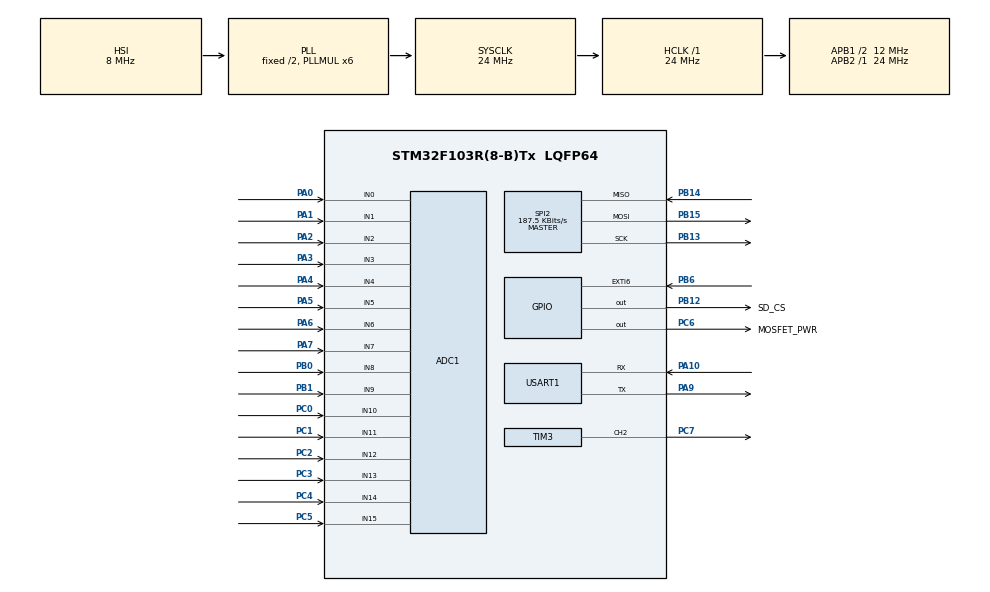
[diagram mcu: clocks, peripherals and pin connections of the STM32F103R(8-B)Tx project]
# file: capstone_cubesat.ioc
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ADC1.Channel-0\#ChannelRegularConversion=ADC_CHANNEL_0
ADC1.ContinuousConvMode=DISABLE
ADC1.EnableAnalogWatchDog=false
ADC1.NbrOfConversion=1
ADC1.NbrOfConversionFlag=1
ADC1.Rank-0\#ChannelRegularConversion=1
ADC1.SamplingTime-0\#ChannelRegularConversion=ADC_SAMPLETIME_7CYCLES_5
ADC1.master=1
Mcu.Family=STM32F1
Mcu.Name=STM32F103R(8-B)Tx
Mcu.Package=LQFP64
NVIC.EXTI9_5_IRQn=true\:0\:0\:false\:false\:true\:true\:true\:true
NVIC.PriorityGroup=NVIC_PRIORITYGROUP_4
NVIC.TIM4_IRQn=true\:15\:0\:false\:false\:true\:false\:true\:true
NVIC.TimeBase=TIM4_IRQn
NVIC.TimeBaseIP=TIM4
PA0-WKUP.Signal=ADCx_IN0
PA1.Signal=ADCx_IN1
PA10.Mode=Asynchronous
PA10.Signal=USART1_RX
PA13.GPIO_Label=TMS
PA13.Mode=Serial_Wire
PA13.Signal=SYS_JTMS-SWDIO
PA14.GPIO_Label=TCK
PA14.Mode=Serial_Wire
PA14.Signal=SYS_JTCK-SWCLK
PA2.Signal=ADCx_IN2
PA3.Signal=ADCx_IN3
PA4.Signal=ADCx_IN4
PA5.Signal=ADCx_IN5
PA6.Signal=ADCx_IN6
PA7.Signal=ADCx_IN7
PA9.Mode=Asynchronous
PA9.Signal=USART1_TX
PB0.Signal=ADCx_IN8
PB1.Signal=ADCx_IN9
PB12.GPIO_Label=SD_CS
PB12.Signal=GPIO_Output
PB13.Mode=Full_Duplex_Master
PB13.Signal=SPI2_SCK
PB14.Mode=Full_Duplex_Master
PB14.Signal=SPI2_MISO
PB15.Mode=Full_Duplex_Master
PB15.Signal=SPI2_MOSI
PB3.GPIO_Label=SWO
PB3.Signal=SYS_JTDO-TRACESWO
PB6.Signal=GPXTI6
PC0.Signal=ADCx_IN10
PC1.Signal=ADCx_IN11
PC14-OSC32_IN.Mode=LSE-External-Oscillator
PC14-OSC32_IN.Signal=RCC_OSC32_IN
PC15-OSC32_OUT.Mode=LSE-External-Oscillator
PC15-OSC32_OUT.Signal=RCC_OSC32_OUT
PC2.Signal=ADCx_IN12
PC3.Signal=ADCx_IN13
PC4.Signal=ADCx_IN14
PC5.Signal=ADCx_IN15
PC6.GPIO_Label=MOSFET_PWR
PC6.Signal=GPIO_Output
PC7.Signal=S_TIM3_CH2
PD0-OSC_IN.Mode=HSE-External-Clock-Source
PD0-OSC_IN.Signal=RCC_OSC_IN
PD1-OSC_OUT.Mode=HSE-External-Clock-Source
PD1-OSC_OUT.Signal=RCC_OSC_OUT
ProjectManager.HeapSize=0x200
ProjectManager.StackSize=0x400
ProjectManager.TargetToolchain=STM32CubeIDE
RCC.AHBFreq_Value=24000000
RCC.APB1CLKDivider=RCC_HCLK_DIV2
RCC.APB1Freq_Value=12000000
RCC.APB1TimFreq_Value=24000000
RCC.APB2Freq_Value=24000000
RCC.APB2TimFreq_Value=24000000
RCC.HCLKFreq_Value=24000000
RCC.PLLMUL=RCC_PLL_MUL6
RCC.RTCClockSelection=RCC_RTCCLKSOURCE_LSE
RCC.SYSCLKFreq_VALUE=24000000
RCC.SYSCLKSource=RCC_SYSCLKSOURCE_PLLCLK
RCC.USBFreq_Value=24000000
SH.ADCx_IN0.0=ADC1_IN0,IN0
SH.ADCx_IN1.0=ADC1_IN1,IN1
SH.ADCx_IN10.0=ADC1_IN10,IN10
SH.ADCx_IN11.0=ADC1_IN11,IN11
SH.ADCx_IN12.0=ADC1_IN12,IN12
SH.ADCx_IN13.0=ADC1_IN13,IN13
SH.ADCx_IN14.0=ADC1_IN14,IN14
SH.ADCx_IN15.0=ADC1_IN15,IN15
SH.ADCx_IN2.0=ADC1_IN2,IN2
SH.ADCx_IN3.0=ADC1_IN3,IN3
SH.ADCx_IN4.0=ADC1_IN4,IN4
SH.ADCx_IN5.0=ADC1_IN5,IN5
SH.ADCx_IN6.0=ADC1_IN6,IN6
SH.ADCx_IN7.0=ADC1_IN7,IN7
SH.ADCx_IN8.0=ADC1_IN8,IN8
SH.ADCx_IN9.0=ADC1_IN9,IN9
SH.S_TIM3_CH2.0=TIM3_CH2,PWM Generation2 CH2
SPI2.BaudRatePrescaler=SPI_BAUDRATEPRESCALER_64
SPI2.CalculateBaudRate=187.5 KBits/s
SPI2.Direction=SPI_DIRECTION_2LINES
SPI2.Mode=SPI_MODE_MASTER
SPI2.VirtualType=VM_MASTER
TIM1.Prescaler=24-1
TIM3.Channel-PWM\ Generation2\ CH2=TIM_CHANNEL_2
USART1.VirtualMode=VM_ASYNC
VP_FATFS_VS_Generic.Mode=User_defined
VP_SYS_VS_tim4.Mode=TIM4
VP_TIM1_VS_ClockSourceINT.Mode=Internal
VP_TIM3_VS_ClockSourceINT.Mode=Internal
board=NUCLEO-F103RB

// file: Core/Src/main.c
/* USER CODE BEGIN Header */
/**
  ******************************************************************************
  * @file           : main.c
  * @brief          : Main program body
  ******************************************************************************
  * @attention
  *
  * Copyright (c) 2024 STMicroelectronics.
  * All rights reserved.
  *
  * This software is licensed under terms that can be found in the LICENSE file
  * in the root directory of this software component.
  * If no LICENSE file comes with this software, it is provided AS-IS.
  *
  ******************************************************************************
  */
/* USER CODE END Header */
#include "main.h"
#include "fatfs.h"

/* USER CODE BEGIN Includes */
#include <stdio.h>
#include "sdcard.h"
#include <string.h>
/* USER CODE END Includes */

ADC_HandleTypeDef hadc1;

SPI_HandleTypeDef hspi2;

TIM_HandleTypeDef htim1;
TIM_HandleTypeDef htim3;

UART_HandleTypeDef huart1;

void SystemClock_Config(void);
static void MX_GPIO_Init(void);
static void MX_USART1_UART_Init(void);
static void MX_ADC1_Init(void);
static void MX_SPI2_Init(void);
static void MX_TIM3_Init(void);
static void MX_TIM1_Init(void);
/* USER CODE BEGIN PFP */
#ifdef __GNUC__
#define PUTCHAR_PROTOTYPE int __io_putchar(int ch)
#else
#define PUTCHAR_PROTOTYPE int fputc(int ch, FILE *f)
#endif

PUTCHAR_PROTOTYPE
{
  HAL_UART_Transmit(&huart1, (uint8_t *)&ch, 1, HAL_MAX_DELAY);
  return ch;
}
/* USER CODE END PFP */

/* USER CODE BEGIN 0 */

void HAL_GPIO_EXTI_Callback(uint16_t GPIO_Pin)
{
  HAL_ResumeTick();
}

// https://controllerstech.com/create-1-microsecond-delay-stm32/
void delay_us (uint16_t us)
{
	__HAL_TIM_SET_COUNTER(&htim1,0);  // set the counter value a 0
	while (__HAL_TIM_GET_COUNTER(&htim1) < us);  // wait for the counter to reach the us input in the parameter
}

uint16_t max(uint16_t arr[], int len)
{
	uint16_t i;

    // Initialize maximum element
    uint16_t max = arr[0];

    // Traverse array elements
    // from second and compare
    // every element with current max
    for (i = 1; i < len; i++)
        if (arr[i] > max)
            max = arr[i];

    return max;
}

void select_adc_channel(int channel)
{
    ADC_ChannelConfTypeDef sConfig = {0};
    //sConfig.SamplingTime = ADC_SAMPLETIME_15CYCLES;
    sConfig.SamplingTime = ADC_SAMPLETIME_7CYCLES_5;
    switch (channel)
    {
        case 0:
            sConfig.Channel = ADC_CHANNEL_0;
              sConfig.Rank = 1;

              if (HAL_ADC_ConfigChannel(&hadc1, &sConfig) != HAL_OK)
              {
                Error_Handler();
              }
              break;

        case 1:
              /** Configure for the selected ADC regular channel its corresponding rank in the sequencer and its sample time.
              */
              sConfig.Channel = ADC_CHANNEL_1;
              sConfig.Rank = 1;
              if (HAL_ADC_ConfigChannel(&hadc1, &sConfig) != HAL_OK)
              {
                Error_Handler();
              }
              break;
              /** Configure for the selected ADC regular channel its corresponding rank in the sequencer and its sample time.
              */
        case 2:
              sConfig.Channel = ADC_CHANNEL_2;
              sConfig.Rank = 1;
              if (HAL_ADC_ConfigChannel(&hadc1, &sConfig) != HAL_OK)
              {
                Error_Handler();
              }
              break;
              /** Configure for the selected ADC regular channel its corresponding rank in the sequencer and its sample time.
              */
        case 3:
              sConfig.Channel = ADC_CHANNEL_3;
              sConfig.Rank = 1;
              if (HAL_ADC_ConfigChannel(&hadc1, &sConfig) != HAL_OK)
              {
                Error_Handler();
              }
              break;
              /** Configure for the selected ADC regular channel its corresponding rank in the sequencer and its sample time.
              */
        case 4:
              sConfig.Channel = ADC_CHANNEL_4;
              sConfig.Rank = 1;
              if (HAL_ADC_ConfigChannel(&hadc1, &sConfig) != HAL_OK)
              {
                Error_Handler();
              }
              break;
              /** Configure for the selected ADC regular channel its corresponding rank in the sequencer and its sample time.
              */
        case 5:
              sConfig.Channel = ADC_CHANNEL_5;
              sConfig.Rank = 1;
              if (HAL_ADC_ConfigChannel(&hadc1, &sConfig) != HAL_OK)
              {
                Error_Handler();
              }
              break;
              /** Configure for the selected ADC regular channel its corresponding rank in the sequencer and its sample time.
              */
        case 6:
              sConfig.Channel = ADC_CHANNEL_6;
              sConfig.Rank = 1;
              if (HAL_ADC_ConfigChannel(&hadc1, &sConfig) != HAL_OK)
              {
                Error_Handler();
              }
              break;
              /** Configure for the selected ADC regular channel its corresponding rank in the sequencer and its sample time.
              */
        case 7:
              sConfig.Channel = ADC_CHANNEL_7;
              sConfig.Rank = 1;
              if (HAL_ADC_ConfigChannel(&hadc1, &sConfig) != HAL_OK)
              {
                Error_Handler();
              }
              break;
              /** Configure for the selected ADC regular channel its corresponding rank in the sequencer and its sample time.
              */
        case 8:
              sConfig.Channel = ADC_CHANNEL_8;
              sConfig.Rank = 9;
              if (HAL_ADC_ConfigChannel(&hadc1, &sConfig) != HAL_OK)
              {
                Error_Handler();
              }
              break;
              /** Configure for the selected ADC regular channel its corresponding rank in the sequencer and its sample time.
              */
        case 9:
              sConfig.Channel = ADC_CHANNEL_9;
              sConfig.Rank = 1;
              if (HAL_ADC_ConfigChannel(&hadc1, &sConfig) != HAL_OK)
              {
                Error_Handler();
              }
              break;
              /** Configure for the selected ADC regular channel its corresponding rank in the sequencer and its sample time.
              */
        case 10:
              sConfig.Channel = ADC_CHANNEL_10;
              sConfig.Rank = 1;
              if (HAL_ADC_ConfigChannel(&hadc1, &sConfig) != HAL_OK)
              {
                Error_Handler();
              }
              break;
              /** Configure for the selected ADC regular channel its corresponding rank in the sequencer and its sample time.
              */
        case 11:
              sConfig.Channel = ADC_CHANNEL_11;
              sConfig.Rank = 1;
              if (HAL_ADC_ConfigChannel(&hadc1, &sConfig) != HAL_OK)
              {
                Error_Handler();
              }
              break;
              /** Configure for the selected ADC regular channel its corresponding rank in the sequencer and its sample time.
              */
        case 12:
              sConfig.Channel = ADC_CHANNEL_12;
              sConfig.Rank = 1;
              if (HAL_ADC_ConfigChannel(&hadc1, &sConfig) != HAL_OK)
              {
                Error_Handler();
              }
              break;
              /** Configure for the selected ADC regular channel its corresponding rank in the sequencer and its sample time.
              */
        case 13:
              sConfig.Channel = ADC_CHANNEL_13;
              sConfig.Rank = 1;
              if (HAL_ADC_ConfigChannel(&hadc1, &sConfig) != HAL_OK)
              {
                Error_Handler();
              }
              break;
              /** Configure for the selected ADC regular channel its corresponding rank in the sequencer and its sample time.
              */
        case 14:
              sConfig.Channel = ADC_CHANNEL_14;
              sConfig.Rank = 1;
              if (HAL_ADC_ConfigChannel(&hadc1, &sConfig) != HAL_OK)
              {
                Error_Handler();
              }
              break;
        case 15:
              sConfig.Channel = ADC_CHANNEL_15;
              sConfig.Rank = 1;
              if (HAL_ADC_ConfigChannel(&hadc1, &sConfig) != HAL_OK)
              {
                Error_Handler();
              }
              break;
        default:
            break;
    }
}

void turn_on_5v_plane(void) {
	// turn on +5v plane
    HAL_GPIO_WritePin(GPIOC, GPIO_PIN_6, GPIO_PIN_SET);
}

void turn_off_5v_plane(void) {

	// turn off +5v plane
    HAL_GPIO_WritePin(GPIOC, GPIO_PIN_6, GPIO_PIN_RESET);
}

void preform_opamp_measurement_log_to_sd(void) {
	char adc_buf[15];

	// dont need to convert to voltages here, since we divide at the end for gain

	const uint16_t NUM_OF_SAMPLES = 80;

	uint16_t source_sine_samples[NUM_OF_SAMPLES];
	uint16_t peak_source_sine;

	uint16_t test_sine_samples[NUM_OF_SAMPLES];
	uint16_t peak_test_sine;

	uint16_t noshd_gain; // percentage
	uint16_t mel_gain;
	uint16_t al_gain;

	for (uint16_t i = 0; i <= 3; i++) {

		 for (uint8_t j = 0; j < NUM_OF_SAMPLES; j++) {

			  select_adc_channel(i);
			  // Get each ADC value from the group (2 channels in this case)
			  HAL_ADC_Start(&hadc1);
			  // Wait for regular group conversion to be completed
			  HAL_ADC_PollForConversion(&hadc1, HAL_MAX_DELAY);
			  if (i == 0) {
				  source_sine_samples[j] = HAL_ADC_GetValue(&hadc1);
			  } else {
				  test_sine_samples[j] = HAL_ADC_GetValue(&hadc1);
			  }

			  delay_us(80); // ~160 Hz sine wave, try to sample it evenly with 80 samples as 1/(160 Hz * 80) ~ 80us

		 }

		 switch (i) {
		 	 case 0:
		 		 peak_source_sine = max(source_sine_samples, NUM_OF_SAMPLES);
		 		 printf("SINE source peak quantized: %u\r\n", peak_source_sine);
		 		 break;
		 	 case 1: // noshd
		 		 peak_test_sine = max(test_sine_samples, NUM_OF_SAMPLES);

		 		noshd_gain = (uint16_t) (( ((float) peak_test_sine) / ((float) peak_source_sine) ) * 100);
		 		 printf("SINE noshd gain %%: %u\r\n", noshd_gain);

		 		break;
		 	 case 2:
		 		 peak_test_sine = max(test_sine_samples, NUM_OF_SAMPLES);

			 		mel_gain = (uint16_t) (( ((float) peak_test_sine) / ((float) peak_source_sine) ) * 100);
			 		 printf("SINE mel gain %%: %u\r\n", mel_gain);
		 		break;

		 	 case 3:
		 		 peak_test_sine = max(test_sine_samples, NUM_OF_SAMPLES);

			 		al_gain = (uint16_t) (( ((float) peak_test_sine) / ((float) peak_source_sine) ) * 100);
			 		 printf("SINE al gain %%: %u\r\n", al_gain);
		 		break;

		 }

	}
  snprintf(adc_buf, 15, "%u,%u,%u,", noshd_gain, mel_gain, al_gain);
  write_sdcard_file(adc_buf);
}

void preform_vref_measurement_log_to_sd(void) {
	char adc_buf[40];
	uint16_t quantized_vref_val;

	for (uint16_t i = 4; i <= 6; i++) {

		  select_adc_channel(i);
		  // Get each ADC value from the group (2 channels in this case)
		  HAL_ADC_Start(&hadc1);
		  // Wait for regular group conversion to be completed
		  HAL_ADC_PollForConversion(&hadc1, HAL_MAX_DELAY);
		  quantized_vref_val = HAL_ADC_GetValue(&hadc1);

		  if (i == 4) { printf("VREF NOSHD quantized val: %u\r\n", quantized_vref_val);}
		  if (i == 5) { printf("VREF MEL quantized val: %u\r\n", quantized_vref_val);}
		  if (i == 6) { printf("VREF AL quantized val: %u\r\n", quantized_vref_val);}

		  snprintf(adc_buf, 40, "%u,", quantized_vref_val);
		  write_sdcard_file(adc_buf);

	}

}

void read_lm35(void) {
		char adc_buf[40];

		uint16_t quantized_lm35_v;

	  select_adc_channel(9);
	  // Get each ADC value from the group (2 channels in this case)
	  HAL_ADC_Start(&hadc1);
	  // Wait for regular group conversion to be completed
	  HAL_ADC_PollForConversion(&hadc1, HAL_MAX_DELAY);
	  quantized_lm35_v = HAL_ADC_GetValue(&hadc1);

	  printf("LM35 quantized volt: %u\r\n", quantized_lm35_v);
	  snprintf(adc_buf, 40, "%u,", quantized_lm35_v);
	  write_sdcard_file(adc_buf);
}

void preform_opto_measurement_log_to_sd(void) {
	char adc_buf[15];

	// dont need to convert to voltages here, since we divide at the end for gain

	const uint16_t NUM_OF_SAMPLES = 80;

	uint16_t forward_opto_current[NUM_OF_SAMPLES];
	uint16_t peak_forward_opto_current;

	uint16_t emitter_opto_current[NUM_OF_SAMPLES];
	uint16_t peak_emitter_opto_current;

	uint16_t noshd_ctr; // percentage
	uint16_t mel_ctr;
	uint16_t al_ctr;

	for (uint16_t i = 10; i <= 15; i++) {

		 for (uint8_t j = 0; j < NUM_OF_SAMPLES; j++) {

			  select_adc_channel(i);
			  // Get each ADC value from the group (2 channels in this case)
			  HAL_ADC_Start(&hadc1);
			  // Wait for regular group conversion to be completed
			  HAL_ADC_PollForConversion(&hadc1, HAL_MAX_DELAY);

			  // if adc channel number even
			  // if moving channels around have to change that here
			  if (i % 2 == 0) {
				  // its forward
				  forward_opto_current[j] = HAL_ADC_GetValue(&hadc1);
			  } else {
				  // else its emitter
				  emitter_opto_current[j] = HAL_ADC_GetValue(&hadc1);
			  }

			  delay_us(80); // ~160 Hz sine wave, try to sample it evenly with 80 samples as 1/(160 Hz * 80) ~ 80us

		 }

		 switch (i) {
		 	 case 10:
		 		peak_forward_opto_current = max(forward_opto_current, NUM_OF_SAMPLES);
		 		 printf("OPTO noshd forward current peak: %u\r\n", peak_forward_opto_current);
		 		 break;
		 	 case 11:
		 		peak_emitter_opto_current = max(emitter_opto_current, NUM_OF_SAMPLES);
		 		 printf("OPTO noshd emitter current peak: %u\r\n", peak_emitter_opto_current);

		 		// now we have all noshd data, find ctr = emitter/forward * 50 for our resistor selection

		 		noshd_ctr = (uint16_t) (( ((float) peak_emitter_opto_current) / ((float) peak_forward_opto_current) ) * 50);
		 		 printf("OPTO noshd ctr %%: %u\r\n", noshd_ctr);

		 		break;
		 	 case 12:
		 		peak_forward_opto_current = max(forward_opto_current, NUM_OF_SAMPLES);
		 		 printf("OPTO mel forward current peak: %u\r\n", peak_forward_opto_current);
		 		 break;
		 	 case 13:
		 		peak_emitter_opto_current = max(emitter_opto_current, NUM_OF_SAMPLES);
		 		 printf("OPTO mel emitter current peak: %u\r\n", peak_emitter_opto_current);

		 		// now we have all noshd data, find ctr = emitter/forward * 50 for our resistor selection

		 		mel_ctr = (uint16_t) (( ((float) peak_emitter_opto_current) / ((float) peak_forward_opto_current) ) * 50);
		 		 printf("OPTO mel ctr %%: %u\r\n", mel_ctr);

		 		break;
		 	 case 14:
		 		peak_forward_opto_current = max(forward_opto_current, NUM_OF_SAMPLES);
		 		 printf("OPTO al forward current peak: %u\r\n", peak_forward_opto_current);
		 		 break;
		 	 case 15:
		 		peak_emitter_opto_current = max(emitter_opto_current, NUM_OF_SAMPLES);
		 		 printf("OPTO al emitter current peak: %u\r\n", peak_emitter_opto_current);

		 		// now we have all noshd data, find ctr = emitter/forward * 50 for our resistor selection

		 		al_ctr = (uint16_t) (( ((float) peak_emitter_opto_current) / ((float) peak_forward_opto_current) ) * 50);
		 		 printf("OPTO al ctr %%: %u\r\n", al_ctr);

		 		break;
		 }

	}
  snprintf(adc_buf, 15, "%u,%u,%u,", noshd_ctr, mel_ctr, al_ctr);
  write_sdcard_file(adc_buf);
}

/* USER CODE END 0 */

int main(void)
{

  /* MCU Configuration--------------------------------------------------------*/

  /* Reset of all peripherals, Initializes the Flash interface and the Systick. */
  HAL_Init();

  /* Configure the system clock */
  SystemClock_Config();

  /* Initialize all configured peripherals */
  MX_GPIO_Init();
  MX_USART1_UART_Init();
  MX_ADC1_Init();
  MX_SPI2_Init();
  MX_FATFS_Init();
  MX_TIM3_Init();
  MX_TIM1_Init();
  /* USER CODE BEGIN 2 */

  //a short delay is important to let the SD card settle
  HAL_Delay(1000);

  HAL_TIM_Base_Start(&htim1);

  // obc enable interrupt listen
  //HAL_I2C_EnableListen_IT(&hi2c1);

  /* USER CODE END 2 */

  /* Infinite loop */
  while (1)
  {

    /* USER CODE BEGIN 3 */

		printf("fully initallized, +5V devices off, delaying 5 seconds\r\n");
		HAL_Delay(5000);

		turn_on_5v_plane();

		printf("+5V deviced powered, delaying 5 seconds\r\n");
		HAL_Delay(5000);

		//--------------------------- start cycle

		mount_sdcard();
		print_sdcard_stats();

		// keep the filename as short as possible
		// e.g. "sample" can only write 10 files before it doesnt want to make anymore
		// this isa bug
		open_sdcard_file_write("s");

		// may need to keep small or increase max size in write function if this gets too long
		write_sdcard_file("op_noshd_p,op_mel_p,op_al_p,vref_noshd,vref_mel,vref_al,lm35,opto_noshd,opto_mel,opto_al\r\n");

		const uint32_t num_samples = 5; // 2sec 450 samples = 15minutes

		for(int cnt = 0; cnt < num_samples; cnt++)
		{

			// order is very important here, since it correlates to order of data written to csv
			preform_opamp_measurement_log_to_sd();
			printf("------------------------------\r\n");
			preform_vref_measurement_log_to_sd();
			printf("------------------------------\r\n");
			read_lm35();
			printf("------------------------------\r\n");
			preform_opto_measurement_log_to_sd();
			printf("------------------------------\r\n");

			// new row
			write_sdcard_file("\r\n");
			 HAL_Delay(2000);
		}

		printf("all done\r\n");

		close_sdcard_file();

		// always do this after testing is done so if power is cut, no data is lost
		unmount_sdcard();

		turn_off_5v_plane();

		printf("+5V devices off, delaying 5 seconds\r\n");
		HAL_Delay(5000);

		//------------------------- end cycle

		printf("Entering sleep mode, delaying 5 seconds\r\n");
		HAL_Delay(5000);

		HAL_SuspendTick();
		HAL_PWR_EnterSLEEPMode(PWR_MAINREGULATOR_ON, PWR_SLEEPENTRY_WFI);
  }
  /* USER CODE END 3 */
}

void SystemClock_Config(void)
{
  RCC_OscInitTypeDef RCC_OscInitStruct = {0};
  RCC_ClkInitTypeDef RCC_ClkInitStruct = {0};
  RCC_PeriphCLKInitTypeDef PeriphClkInit = {0};

  /** Initializes the RCC Oscillators according to the specified parameters
  * in the RCC_OscInitTypeDef structure.
  */
  RCC_OscInitStruct.OscillatorType = RCC_OSCILLATORTYPE_HSI;
  RCC_OscInitStruct.HSIState = RCC_HSI_ON;
  RCC_OscInitStruct.HSICalibrationValue = RCC_HSICALIBRATION_DEFAULT;
  RCC_OscInitStruct.PLL.PLLState = RCC_PLL_ON;
  RCC_OscInitStruct.PLL.PLLSource = RCC_PLLSOURCE_HSI_DIV2;
  RCC_OscInitStruct.PLL.PLLMUL = RCC_PLL_MUL6;
  if (HAL_RCC_OscConfig(&RCC_OscInitStruct) != HAL_OK)
  {
    Error_Handler();
  }

  /** Initializes the CPU, AHB and APB buses clocks
  */
  RCC_ClkInitStruct.ClockType = RCC_CLOCKTYPE_HCLK|RCC_CLOCKTYPE_SYSCLK
                              |RCC_CLOCKTYPE_PCLK1|RCC_CLOCKTYPE_PCLK2;
  RCC_ClkInitStruct.SYSCLKSource = RCC_SYSCLKSOURCE_PLLCLK;
  RCC_ClkInitStruct.AHBCLKDivider = RCC_SYSCLK_DIV1;
  RCC_ClkInitStruct.APB1CLKDivider = RCC_HCLK_DIV2;
  RCC_ClkInitStruct.APB2CLKDivider = RCC_HCLK_DIV1;

  if (HAL_RCC_ClockConfig(&RCC_ClkInitStruct, FLASH_LATENCY_0) != HAL_OK)
  {
    Error_Handler();
  }
  PeriphClkInit.PeriphClockSelection = RCC_PERIPHCLK_ADC;
  PeriphClkInit.AdcClockSelection = RCC_ADCPCLK2_DIV2;
  if (HAL_RCCEx_PeriphCLKConfig(&PeriphClkInit) != HAL_OK)
  {
    Error_Handler();
  }
}

static void MX_ADC1_Init(void)
{

  ADC_ChannelConfTypeDef sConfig = {0};

  /** Common config
  */
  hadc1.Instance = ADC1;
  hadc1.Init.ScanConvMode = ADC_SCAN_DISABLE;
  hadc1.Init.ContinuousConvMode = DISABLE;
  hadc1.Init.DiscontinuousConvMode = DISABLE;
  hadc1.Init.ExternalTrigConv = ADC_SOFTWARE_START;
  hadc1.Init.DataAlign = ADC_DATAALIGN_RIGHT;
  hadc1.Init.NbrOfConversion = 1;
  if (HAL_ADC_Init(&hadc1) != HAL_OK)
  {
    Error_Handler();
  }

  /** Configure Regular Channel
  */
  sConfig.Channel = ADC_CHANNEL_0;
  sConfig.Rank = ADC_REGULAR_RANK_1;
  sConfig.SamplingTime = ADC_SAMPLETIME_7CYCLES_5;
  if (HAL_ADC_ConfigChannel(&hadc1, &sConfig) != HAL_OK)
  {
    Error_Handler();
  }

}

static void MX_SPI2_Init(void)
{

  /* SPI2 parameter configuration*/
  hspi2.Instance = SPI2;
  hspi2.Init.Mode = SPI_MODE_MASTER;
  hspi2.Init.Direction = SPI_DIRECTION_2LINES;
  hspi2.Init.DataSize = SPI_DATASIZE_8BIT;
  hspi2.Init.CLKPolarity = SPI_POLARITY_LOW;
  hspi2.Init.CLKPhase = SPI_PHASE_1EDGE;
  hspi2.Init.NSS = SPI_NSS_SOFT;
  hspi2.Init.BaudRatePrescaler = SPI_BAUDRATEPRESCALER_64;
  hspi2.Init.FirstBit = SPI_FIRSTBIT_MSB;
  hspi2.Init.TIMode = SPI_TIMODE_DISABLE;
  hspi2.Init.CRCCalculation = SPI_CRCCALCULATION_DISABLE;
  hspi2.Init.CRCPolynomial = 10;
  if (HAL_SPI_Init(&hspi2) != HAL_OK)
  {
    Error_Handler();
  }

}

static void MX_TIM1_Init(void)
{

  TIM_ClockConfigTypeDef sClockSourceConfig = {0};
  TIM_MasterConfigTypeDef sMasterConfig = {0};

  htim1.Instance = TIM1;
  htim1.Init.Prescaler = 24-1;
  htim1.Init.CounterMode = TIM_COUNTERMODE_UP;
  htim1.Init.Period = 65535;
  htim1.Init.ClockDivision = TIM_CLOCKDIVISION_DIV1;
  htim1.Init.RepetitionCounter = 0;
  htim1.Init.AutoReloadPreload = TIM_AUTORELOAD_PRELOAD_DISABLE;
  if (HAL_TIM_Base_Init(&htim1) != HAL_OK)
  {
    Error_Handler();
  }
  sClockSourceConfig.ClockSource = TIM_CLOCKSOURCE_INTERNAL;
  if (HAL_TIM_ConfigClockSource(&htim1, &sClockSourceConfig) != HAL_OK)
  {
    Error_Handler();
  }
  sMasterConfig.MasterOutputTrigger = TIM_TRGO_RESET;
  sMasterConfig.MasterSlaveMode = TIM_MASTERSLAVEMODE_DISABLE;
  if (HAL_TIMEx_MasterConfigSynchronization(&htim1, &sMasterConfig) != HAL_OK)
  {
    Error_Handler();
  }

}

static void MX_TIM3_Init(void)
{

  TIM_ClockConfigTypeDef sClockSourceConfig = {0};
  TIM_MasterConfigTypeDef sMasterConfig = {0};
  TIM_OC_InitTypeDef sConfigOC = {0};

  htim3.Instance = TIM3;
  htim3.Init.Prescaler = 0;
  htim3.Init.CounterMode = TIM_COUNTERMODE_UP;
  htim3.Init.Period = 65535;
  htim3.Init.ClockDivision = TIM_CLOCKDIVISION_DIV1;
  htim3.Init.AutoReloadPreload = TIM_AUTORELOAD_PRELOAD_DISABLE;
  if (HAL_TIM_Base_Init(&htim3) != HAL_OK)
  {
    Error_Handler();
  }
  sClockSourceConfig.ClockSource = TIM_CLOCKSOURCE_INTERNAL;
  if (HAL_TIM_ConfigClockSource(&htim3, &sClockSourceConfig) != HAL_OK)
  {
    Error_Handler();
  }
  if (HAL_TIM_PWM_Init(&htim3) != HAL_OK)
  {
    Error_Handler();
  }
  sMasterConfig.MasterOutputTrigger = TIM_TRGO_RESET;
  sMasterConfig.MasterSlaveMode = TIM_MASTERSLAVEMODE_DISABLE;
  if (HAL_TIMEx_MasterConfigSynchronization(&htim3, &sMasterConfig) != HAL_OK)
  {
    Error_Handler();
  }
  sConfigOC.OCMode = TIM_OCMODE_PWM1;
  sConfigOC.Pulse = 0;
  sConfigOC.OCPolarity = TIM_OCPOLARITY_HIGH;
  sConfigOC.OCFastMode = TIM_OCFAST_DISABLE;
  if (HAL_TIM_PWM_ConfigChannel(&htim3, &sConfigOC, TIM_CHANNEL_2) != HAL_OK)
  {
    Error_Handler();
  }
  HAL_TIM_MspPostInit(&htim3);

}

static void MX_USART1_UART_Init(void)
{

  huart1.Instance = USART1;
  huart1.Init.BaudRate = 115200;
  huart1.Init.WordLength = UART_WORDLENGTH_8B;
  huart1.Init.StopBits = UART_STOPBITS_1;
  huart1.Init.Parity = UART_PARITY_NONE;
  huart1.Init.Mode = UART_MODE_TX_RX;
  huart1.Init.HwFlowCtl = UART_HWCONTROL_NONE;
  huart1.Init.OverSampling = UART_OVERSAMPLING_16;
  if (HAL_UART_Init(&huart1) != HAL_OK)
  {
    Error_Handler();
  }

}

static void MX_GPIO_Init(void)
{
  GPIO_InitTypeDef GPIO_InitStruct = {0};

  /* GPIO Ports Clock Enable */
  __HAL_RCC_GPIOC_CLK_ENABLE();
  __HAL_RCC_GPIOD_CLK_ENABLE();
  __HAL_RCC_GPIOA_CLK_ENABLE();
  __HAL_RCC_GPIOB_CLK_ENABLE();

  /*Configure GPIO pin Output Level */
  HAL_GPIO_WritePin(SD_CS_GPIO_Port, SD_CS_Pin, GPIO_PIN_RESET);

  /*Configure GPIO pin Output Level */
  HAL_GPIO_WritePin(MOSFET_PWR_GPIO_Port, MOSFET_PWR_Pin, GPIO_PIN_RESET);

  /*Configure GPIO pin : SD_CS_Pin */
  GPIO_InitStruct.Pin = SD_CS_Pin;
  GPIO_InitStruct.Mode = GPIO_MODE_OUTPUT_PP;
  GPIO_InitStruct.Pull = GPIO_NOPULL;
  GPIO_InitStruct.Speed = GPIO_SPEED_FREQ_LOW;
  HAL_GPIO_Init(SD_CS_GPIO_Port, &GPIO_InitStruct);

  /*Configure GPIO pin : MOSFET_PWR_Pin */
  GPIO_InitStruct.Pin = MOSFET_PWR_Pin;
  GPIO_InitStruct.Mode = GPIO_MODE_OUTPUT_PP;
  GPIO_InitStruct.Pull = GPIO_NOPULL;
  GPIO_InitStruct.Speed = GPIO_SPEED_FREQ_LOW;
  HAL_GPIO_Init(MOSFET_PWR_GPIO_Port, &GPIO_InitStruct);

  /*Configure GPIO pin : PB6 */
  GPIO_InitStruct.Pin = GPIO_PIN_6;
  GPIO_InitStruct.Mode = GPIO_MODE_IT_RISING;
  GPIO_InitStruct.Pull = GPIO_NOPULL;
  HAL_GPIO_Init(GPIOB, &GPIO_InitStruct);

  /* EXTI interrupt init*/
  HAL_NVIC_SetPriority(EXTI9_5_IRQn, 0, 0);
  HAL_NVIC_EnableIRQ(EXTI9_5_IRQn);

}

void HAL_TIM_PeriodElapsedCallback(TIM_HandleTypeDef *htim)
{
  if (htim->Instance == TIM4) {
    HAL_IncTick();
  }
}

void Error_Handler(void)
{
  /* USER CODE BEGIN Error_Handler_Debug */
  /* User can add his own implementation to report the HAL error return state */
  __disable_irq();
  while (1)
  {
	  printf("Bricked");
	  HAL_Delay(1000);
  }
  /* USER CODE END Error_Handler_Debug */
}
